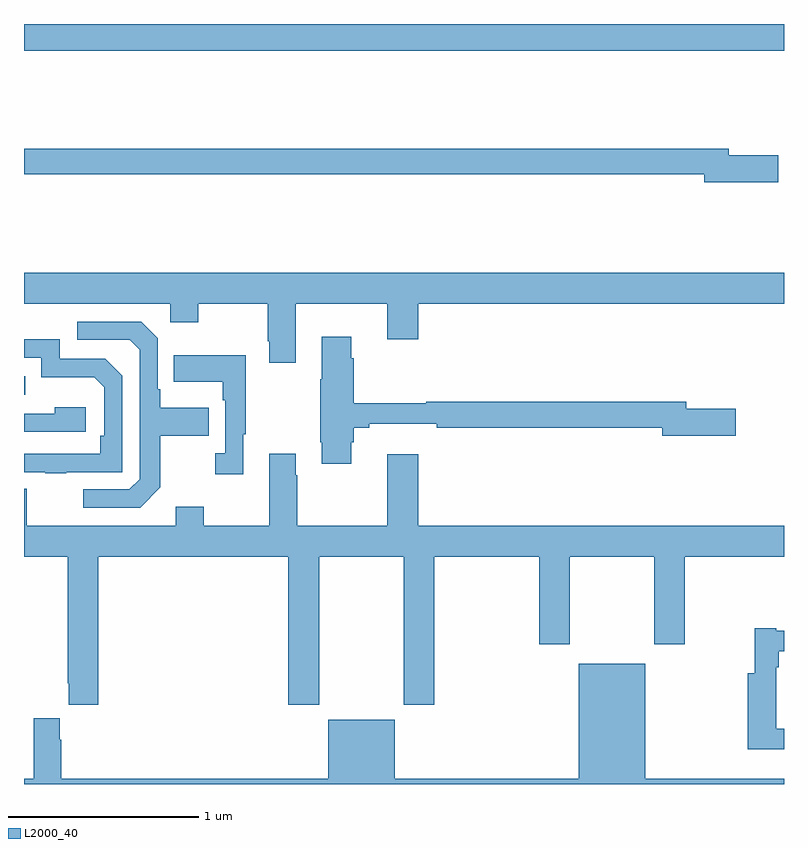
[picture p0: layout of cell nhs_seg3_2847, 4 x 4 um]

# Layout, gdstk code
import gdstk
lib = gdstk.Library(unit=1e-6, precision=1e-09)
def R(c, l, rs):  # rectangles x0, y0, x1, y1
    for r in rs: c.add(gdstk.rectangle(r[:2], r[2:], *l))
def P(c, l, *ps):  # polygons
    for p in ps: c.add(gdstk.Polygon(p, *l))
L2000_40 = (2000, 40)

nhs_seg3_2847 = lib.new_cell('nhs_seg3_2847')
R(nhs_seg3_2847, L2000_40, [(259,688.449,259.007,688.545), (259,690.26,263,690.4)])
P(nhs_seg3_2847, L2000_40, [(262.969,689.708),(262.708,689.708),(262.708,689.744),(259,689.744),(259,689.608),(262.58,689.608),(262.58,689.566),(262.969,689.566)],
  [(260.431,688.928),(260.912,688.928),(260.912,688.74),(261.076,688.74),(261.076,688.928),(263,688.928),(263,689.092),(259,689.092),(259,688.928),(259.77,688.928),(259.77,688.829),(259.916,688.829),(259.916,688.928),(260.284,688.928),(260.284,688.729),(260.291,688.729),(260.291,688.617),(260.431,688.617)],
  [(259.717,687.961),(259.717,688.234),(259.973,688.234),(259.973,688.381),(259.717,688.381),(259.717,688.477),(259.704,688.477),(259.704,688.746),(259.617,688.833),(259.281,688.833),(259.281,688.737),(259.557,688.737),(259.608,688.686),(259.608,688.005),(259.554,687.951),(259.311,687.951),(259.311,687.855),(259.611,687.855)],
  [(260.722,688.199),(260.735,688.199),(260.735,688.276),(260.818,688.276),(260.818,688.295),(261.172,688.295),(261.172,688.276),(262.358,688.276),(262.358,688.234),(262.747,688.234),(262.747,688.376),(262.486,688.376),(262.486,688.412),(261.118,688.412),(261.118,688.405),(260.735,688.405),(260.735,688.64),(260.722,688.64),(260.722,688.753),(260.567,688.753),(260.567,688.529),(260.56,688.529),(260.56,688.198),(260.567,688.198),(260.567,688.086),(260.722,688.086)],
  [(259.223,688.041),(259.518,688.041),(259.518,688.548),(259.428,688.638),(259.188,688.638),(259.188,688.74),(259,688.74),(259,688.644),(259.092,688.644),(259.092,688.541),(259.369,688.541),(259.422,688.488),(259.422,688.234),(259.402,688.234),(259.402,688.137),(259,688.137),(259,688.041),(259.111,688.041),(259.111,688.036),(259.223,688.036)],
  [(260.155,688.241),(260.166,688.241),(260.166,688.657),(259.789,688.657),(259.789,688.517),(260.046,688.517),(260.046,688.421),(260.058,688.421),(260.058,688.142),(260.007,688.142),(260.007,688.029),(260.155,688.029)],
  [(259.324,688.384),(259.163,688.384),(259.163,688.35),(259,688.35),(259,688.254),(259.324,688.254)],
  [(259.391,687.596),(260.392,687.596),(260.392,686.817),(260.553,686.817),(260.553,687.596),(260.998,687.596),(260.998,686.817),(261.158,686.817),(261.158,687.596),(261.713,687.596),(261.713,687.135),(261.873,687.135),(261.873,687.596),(262.318,687.596),(262.318,687.135),(262.478,687.135),(262.478,687.596),(263,687.596),(263,687.76),(261.076,687.76),(261.076,688.135),(260.912,688.135),(260.912,687.76),(260.439,687.76),(260.439,688.025),(260.431,688.025),(260.431,688.138),(260.291,688.138),(260.291,687.76),(259.947,687.76),(259.947,687.859),(259.799,687.859),(259.799,687.76),(259.015,687.76),(259.015,687.955),(259,687.955),(259,687.596),(259.231,687.596),(259.231,686.929),(259.235,686.929),(259.235,686.817),(259.391,686.817)],
  [(263,686.692),(262.958,686.692),(262.958,687.014),(262.973,687.014),(262.973,687.099),(263,687.099),(263,687.207),(262.96,687.207),(262.96,687.22),(262.845,687.22),(262.845,686.983),(262.808,686.983),(262.808,686.582),(263,686.582)],
  [(260.6,686.737),(260.6,686.428),(259.196,686.428),(259.196,686.633),(259.189,686.633),(259.189,686.746),(259.052,686.746),(259.052,686.428),(259,686.428),(259,686.4),(263,686.4),(263,686.428),(262.27,686.428),(262.27,687.034),(261.92,687.034),(261.92,686.428),(260.95,686.428),(260.95,686.737)])

lib.write_gds('nhs_seg3_2847.gds')
